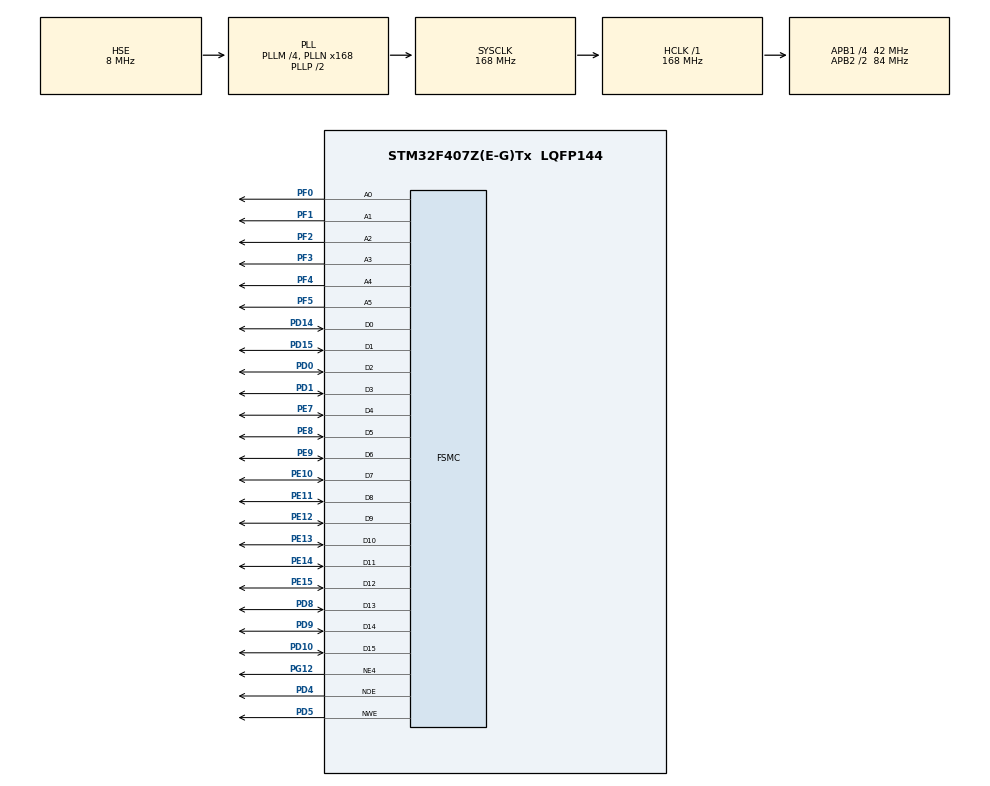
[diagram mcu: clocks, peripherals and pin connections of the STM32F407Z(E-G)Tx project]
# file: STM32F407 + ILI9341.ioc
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FSMC.AddressSetupTime4=1
FSMC.DataSetupTime4=15
FSMC.WriteOperation4=FSMC_WRITE_OPERATION_ENABLE
Mcu.Family=STM32F4
Mcu.Name=STM32F407Z(E-G)Tx
Mcu.Package=LQFP144
NVIC.PriorityGroup=NVIC_PRIORITYGROUP_4
PA13.Mode=Serial_Wire
PA13.Signal=SYS_JTMS-SWDIO
PA14.Mode=Serial_Wire
PA14.Signal=SYS_JTCK-SWCLK
PD0.Signal=FSMC_D2_DA2
PD1.Signal=FSMC_D3_DA3
PD10.Signal=FSMC_D15_DA15
PD14.Signal=FSMC_D0_DA0
PD15.Signal=FSMC_D1_DA1
PD4.Signal=FSMC_NOE
PD5.Signal=FSMC_NWE
PD8.Signal=FSMC_D13_DA13
PD9.Signal=FSMC_D14_DA14
PE10.Signal=FSMC_D7_DA7
PE11.Signal=FSMC_D8_DA8
PE12.Signal=FSMC_D9_DA9
PE13.Signal=FSMC_D10_DA10
PE14.Signal=FSMC_D11_DA11
PE15.Signal=FSMC_D12_DA12
PE7.Signal=FSMC_D4_DA4
PE8.Signal=FSMC_D5_DA5
PE9.Signal=FSMC_D6_DA6
PF0.Signal=FSMC_A0
PF1.Signal=FSMC_A1
PF12.Signal=FSMC_A6
PF2.Signal=FSMC_A2
PF3.Signal=FSMC_A3
PF4.Signal=FSMC_A4
PF5.Signal=FSMC_A5
PG12.Mode=NorPsramChipSelect4_4
PG12.Signal=FSMC_NE4
PH0-OSC_IN.Mode=HSE-External-Oscillator
PH0-OSC_IN.Signal=RCC_OSC_IN
PH1-OSC_OUT.Mode=HSE-External-Oscillator
PH1-OSC_OUT.Signal=RCC_OSC_OUT
ProjectManager.HeapSize=0x200
ProjectManager.StackSize=0x400
ProjectManager.TargetToolchain=MDK-ARM V5.32
RCC.48MHZClocksFreq_Value=84000000
RCC.AHBFreq_Value=168000000
RCC.APB1CLKDivider=RCC_HCLK_DIV4
RCC.APB1Freq_Value=42000000
RCC.APB1TimFreq_Value=84000000
RCC.APB2CLKDivider=RCC_HCLK_DIV2
RCC.APB2Freq_Value=84000000
RCC.APB2TimFreq_Value=168000000
RCC.CortexFreq_Value=168000000
RCC.HCLKFreq_Value=168000000
RCC.HSE_VALUE=8000000
RCC.HSI_VALUE=16000000
RCC.LSE_VALUE=32768
RCC.PLLM=4
RCC.PLLN=168
RCC.PLLSourceVirtual=RCC_PLLSOURCE_HSE
RCC.SYSCLKFreq_VALUE=168000000
RCC.SYSCLKSource=RCC_SYSCLKSOURCE_PLLCLK
RCC.VCOOutputFreq_Value=336000000
SH.FSMC_A0.0=FSMC_A0,6b-a4
SH.FSMC_A1.0=FSMC_A1,6b-a4
SH.FSMC_A2.0=FSMC_A2,6b-a4
SH.FSMC_A3.0=FSMC_A3,6b-a4
SH.FSMC_A4.0=FSMC_A4,6b-a4
SH.FSMC_A5.0=FSMC_A5,6b-a4
SH.FSMC_A6.0=FSMC_A6
SH.FSMC_D0_DA0.0=FSMC_D0,16b-d4
SH.FSMC_D10_DA10.0=FSMC_D10,16b-d4
SH.FSMC_D11_DA11.0=FSMC_D11,16b-d4
SH.FSMC_D12_DA12.0=FSMC_D12,16b-d4
SH.FSMC_D13_DA13.0=FSMC_D13,16b-d4
SH.FSMC_D14_DA14.0=FSMC_D14,16b-d4
SH.FSMC_D15_DA15.0=FSMC_D15,16b-d4
SH.FSMC_D1_DA1.0=FSMC_D1,16b-d4
SH.FSMC_D2_DA2.0=FSMC_D2,16b-d4
SH.FSMC_D3_DA3.0=FSMC_D3,16b-d4
SH.FSMC_D4_DA4.0=FSMC_D4,16b-d4
SH.FSMC_D5_DA5.0=FSMC_D5,16b-d4
SH.FSMC_D6_DA6.0=FSMC_D6,16b-d4
SH.FSMC_D7_DA7.0=FSMC_D7,16b-d4
SH.FSMC_D8_DA8.0=FSMC_D8,16b-d4
SH.FSMC_D9_DA9.0=FSMC_D9,16b-d4
SH.FSMC_NOE.0=FSMC_NOE,Sram4
SH.FSMC_NWE.0=FSMC_NWE,Sram4
board=custom

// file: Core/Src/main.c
/* USER CODE BEGIN Header */
/**
  ******************************************************************************
  * @file           : main.c
  * @brief          : Main program body
  ******************************************************************************
  * @attention
  *
  * Copyright (c) 2026 STMicroelectronics.
  * All rights reserved.
  *
  * This software is licensed under terms that can be found in the LICENSE file
  * in the root directory of this software component.
  * If no LICENSE file comes with this software, it is provided AS-IS.
  *
  ******************************************************************************
  */
/* USER CODE END Header */
#include "main.h"

/* USER CODE BEGIN Includes */
#include <stdint.h>
/* USER CODE END Includes */

SRAM_HandleTypeDef hsram4;

/* USER CODE BEGIN PV */
volatile uint32_t comm_hclk = 0;
volatile uint16_t comm_id = 0;
volatile uint8_t comm_id_ok = 0;
volatile uint8_t comm_write_ok = 0;
volatile uint8_t comm_readback[4] = {0};
/* USER CODE END PV */

void SystemClock_Config(void);
static void MX_GPIO_Init(void);
static void MX_FSMC_Init(void);

/* USER CODE BEGIN 0 */
#define LCD_COMMAND_REG (*(volatile uint16_t *)0x6C00007EUL)
#define LCD_DATA_REG    (*(volatile uint16_t *)0x6C000080UL)

static void LCD_WR_REG(uint16_t command)
{
    LCD_COMMAND_REG = command;
}

static void LCD_WR_DATA(uint16_t data)
{
    LCD_DATA_REG = data;
}

static uint16_t LCD_RD_DATA(void)
{
    return LCD_DATA_REG;
}

static uint16_t Comm_ReadID(void)
{
    uint16_t high, low;
    LCD_WR_REG(0xD3);
    (void)LCD_RD_DATA(); /* dummy */
    (void)LCD_RD_DATA(); /* IC??,???00 */
    high = LCD_RD_DATA() & 0xFFU;
    low  = LCD_RD_DATA() & 0xFFU;
    return (uint16_t)((high << 8) | low);
}

static uint8_t Comm_ReadMADCTL(void)
{
    LCD_WR_REG(0x0B);
    (void)LCD_RD_DATA(); /* dummy */
    return (uint8_t)(LCD_RD_DATA() & 0xFFU);
}

static void Comm_WriteMADCTL(uint8_t value)
{
    LCD_WR_REG(0x36);
    LCD_WR_DATA((uint16_t)(value & 0xFCU));
}

static void Comm_TestWrite(void)
{
    static const uint8_t pattern[4] = {0x08, 0x48, 0x88, 0x28};
    uint8_t original = Comm_ReadMADCTL() & 0xFCU;
    uint8_t passed = 1;
    uint32_t i;

    for (i = 0; i < 4; ++i) {
        Comm_WriteMADCTL(pattern[i]);
        comm_readback[i] = Comm_ReadMADCTL();
        if ((comm_readback[i] & 0xFCU) != pattern[i]) {
            passed = 0;
        }
    }

    /* ???????????;????????????? */
    Comm_WriteMADCTL(original);
    if ((Comm_ReadMADCTL() & 0xFCU) != original) passed = 0;
    comm_write_ok = passed;
}
/* USER CODE END 0 */

int main(void)
{

  /* MCU Configuration--------------------------------------------------------*/

  /* Reset of all peripherals, Initializes the Flash interface and the Systick. */
  HAL_Init();

  /* Configure the system clock */
  SystemClock_Config();

  /* Initialize all configured peripherals */
  MX_GPIO_Init();
  MX_FSMC_Init();
  /* USER CODE BEGIN 2 */
comm_hclk = HAL_RCC_GetHCLKFreq();
HAL_Delay(150); /* ?????????LCD?? */
comm_id = Comm_ReadID();
comm_id_ok = (comm_id == 0x9341U) ? 1U : 0U;
if (comm_id_ok != 0U) {
    Comm_TestWrite();
}
  /* USER CODE END 2 */

  /* Infinite loop */
  /* USER CODE BEGIN WHILE */
  while (1)
  {
		HAL_Delay(1000);
    /* USER CODE END WHILE */

  }
}

void SystemClock_Config(void)
{
  RCC_OscInitTypeDef RCC_OscInitStruct = {0};
  RCC_ClkInitTypeDef RCC_ClkInitStruct = {0};

  /** Configure the main internal regulator output voltage
  */
  __HAL_RCC_PWR_CLK_ENABLE();
  __HAL_PWR_VOLTAGESCALING_CONFIG(PWR_REGULATOR_VOLTAGE_SCALE1);

  /** Initializes the RCC Oscillators according to the specified parameters
  * in the RCC_OscInitTypeDef structure.
  */
  RCC_OscInitStruct.OscillatorType = RCC_OSCILLATORTYPE_HSE;
  RCC_OscInitStruct.HSEState = RCC_HSE_ON;
  RCC_OscInitStruct.PLL.PLLState = RCC_PLL_ON;
  RCC_OscInitStruct.PLL.PLLSource = RCC_PLLSOURCE_HSE;
  RCC_OscInitStruct.PLL.PLLM = 4;
  RCC_OscInitStruct.PLL.PLLN = 168;
  RCC_OscInitStruct.PLL.PLLP = RCC_PLLP_DIV2;
  RCC_OscInitStruct.PLL.PLLQ = 4;
  if (HAL_RCC_OscConfig(&RCC_OscInitStruct) != HAL_OK)
  {
    Error_Handler();
  }

  /** Initializes the CPU, AHB and APB buses clocks
  */
  RCC_ClkInitStruct.ClockType = RCC_CLOCKTYPE_HCLK|RCC_CLOCKTYPE_SYSCLK
                              |RCC_CLOCKTYPE_PCLK1|RCC_CLOCKTYPE_PCLK2;
  RCC_ClkInitStruct.SYSCLKSource = RCC_SYSCLKSOURCE_PLLCLK;
  RCC_ClkInitStruct.AHBCLKDivider = RCC_SYSCLK_DIV1;
  RCC_ClkInitStruct.APB1CLKDivider = RCC_HCLK_DIV4;
  RCC_ClkInitStruct.APB2CLKDivider = RCC_HCLK_DIV2;

  if (HAL_RCC_ClockConfig(&RCC_ClkInitStruct, FLASH_LATENCY_5) != HAL_OK)
  {
    Error_Handler();
  }
}

static void MX_GPIO_Init(void)
{

  /* GPIO Ports Clock Enable */
  __HAL_RCC_GPIOF_CLK_ENABLE();
  __HAL_RCC_GPIOH_CLK_ENABLE();
  __HAL_RCC_GPIOE_CLK_ENABLE();
  __HAL_RCC_GPIOD_CLK_ENABLE();
  __HAL_RCC_GPIOA_CLK_ENABLE();
  __HAL_RCC_GPIOG_CLK_ENABLE();

}

/* FSMC initialization function */
static void MX_FSMC_Init(void)
{

  FSMC_NORSRAM_TimingTypeDef Timing = {0};

  /** Perform the SRAM4 memory initialization sequence
  */
  hsram4.Instance = FSMC_NORSRAM_DEVICE;
  hsram4.Extended = FSMC_NORSRAM_EXTENDED_DEVICE;
  /* hsram4.Init */
  hsram4.Init.NSBank = FSMC_NORSRAM_BANK4;
  hsram4.Init.DataAddressMux = FSMC_DATA_ADDRESS_MUX_DISABLE;
  hsram4.Init.MemoryType = FSMC_MEMORY_TYPE_SRAM;
  hsram4.Init.MemoryDataWidth = FSMC_NORSRAM_MEM_BUS_WIDTH_16;
  hsram4.Init.BurstAccessMode = FSMC_BURST_ACCESS_MODE_DISABLE;
  hsram4.Init.WaitSignalPolarity = FSMC_WAIT_SIGNAL_POLARITY_LOW;
  hsram4.Init.WrapMode = FSMC_WRAP_MODE_DISABLE;
  hsram4.Init.WaitSignalActive = FSMC_WAIT_TIMING_BEFORE_WS;
  hsram4.Init.WriteOperation = FSMC_WRITE_OPERATION_ENABLE;
  hsram4.Init.WaitSignal = FSMC_WAIT_SIGNAL_DISABLE;
  hsram4.Init.ExtendedMode = FSMC_EXTENDED_MODE_DISABLE;
  hsram4.Init.AsynchronousWait = FSMC_ASYNCHRONOUS_WAIT_DISABLE;
  hsram4.Init.WriteBurst = FSMC_WRITE_BURST_DISABLE;
  hsram4.Init.PageSize = FSMC_PAGE_SIZE_NONE;
  /* Timing */
  Timing.AddressSetupTime = 1;
  Timing.AddressHoldTime = 15;
  Timing.DataSetupTime = 15;
  Timing.BusTurnAroundDuration = 15;
  Timing.CLKDivision = 16;
  Timing.DataLatency = 17;
  Timing.AccessMode = FSMC_ACCESS_MODE_A;
  /* ExtTiming */

  if (HAL_SRAM_Init(&hsram4, &Timing, NULL) != HAL_OK)
  {
    Error_Handler( );
  }

}

void Error_Handler(void)
{
  __disable_irq();
  while (1)
  {
  }
}
